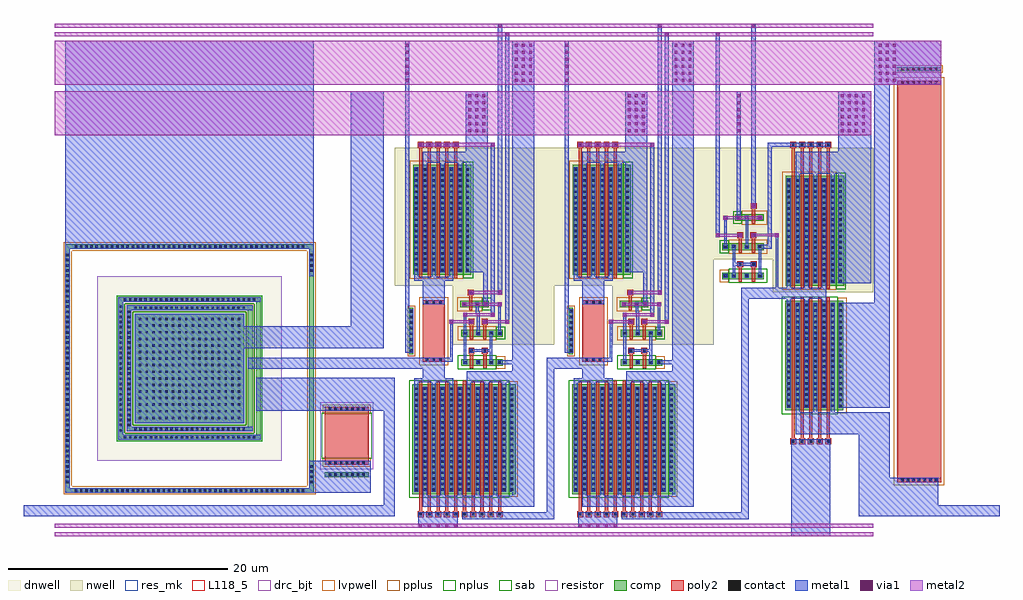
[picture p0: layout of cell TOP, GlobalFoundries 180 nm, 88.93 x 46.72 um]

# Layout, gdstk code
from math import pi, radians
import gdstk
lib = gdstk.Library(unit=1e-6, precision=1e-09)
def R(c, l, rs):  # rectangles x0, y0, x1, y1
    for r in rs: c.add(gdstk.rectangle(r[:2], r[2:], *l))
def A(c, l, x, y, w, h, nx, ny, dx, dy):  # array of equal rectangles
    R(c, l, [(x+i*dx, y+j*dy, x+i*dx+w, y+j*dy+h) for i in range(nx) for j in range(ny)])
def P(c, l, *ps):  # polygons
    for p in ps: c.add(gdstk.Polygon(p, *l))
dnwell = (12, 0)
nwell = (21, 0)
comp = (22, 0)
poly2 = (30, 0)
pplus = (31, 0)
nplus = (32, 0)
contact = (33, 0)
metal1 = (34, 0)
via1 = (35, 0)
metal2 = (36, 0)
sab = (49, 0)
resistor = (62, 0)
res_mk = (110, 5)
L118_5 = (118, 5)
drc_bjt = (127, 5)
lvpwell = (204, 0)

ppolyf_s_resistor = lib.new_cell('ppolyf_s_resistor')
R(ppolyf_s_resistor, comp, [(-1.51,0,-1.15,4)])
R(ppolyf_s_resistor, poly2, [(-0.29,0,36.29,4)])
R(ppolyf_s_resistor, pplus, [(-0.59,-0.3,36.59,4.3), (-1.67,-0.16,-0.99,4.16)])
A(ppolyf_s_resistor, contact, -1.44, 0.36, 0.22, 0.22, 1, 7, 0, 0.51)
A(ppolyf_s_resistor, contact, -0.22, 0.36, 0.22, 0.22, 1, 7, 0, 0.51)
A(ppolyf_s_resistor, contact, 36, 0.36, 0.22, 0.22, 1, 7, 0, 0.51)
R(ppolyf_s_resistor, metal1, [(-1.52,0.28,-1.14,3.72), (-0.3,0.28,0.08,3.72), (35.92,0.28,36.3,3.72)])
R(ppolyf_s_resistor, res_mk, [(0,0,36,4)])

inputbuffer = lib.new_cell('InputBuffer')
R(inputbuffer, nwell, [(-16.13,7.7,-6.96,10.7), (-21.5,10.7,-6.96,20.87)])
R(inputbuffer, comp, [(-14.99,-3.04,-9.69,6.96), (-14.92,8.32,-9.62,18.32), (-20.73,8.91,-16.93,9.51), (-20.73,11.56,-16.93,12.16), (-19.53,14.21,-16.93,14.81)])
A(inputbuffer, poly2, -14.52, -6.14, 0.54, 0.54, 5, 2, 0.8, 27.02)
A(inputbuffer, poly2, -14.39, -5.6, 0.28, 12.87, 5, 2, 0.8, 13.61)
A(inputbuffer, poly2, -18.03, 8.66, 0.3, 1.34, 1, 3, 0, 2.65)
R(inputbuffer, poly2, [(-19.24,8.66,-18.94,10), (-19.35,10,-18.81,10.54), (-18.14,10,-17.6,10.54), (-19.23,11.31,-18.93,12.65), (-19.35,12.65,-18.81,13.19), (-18.15,12.65,-17.61,13.19), (-18.14,15.3,-17.6,15.84)])
R(inputbuffer, pplus, [(-10.18,-3.31,-9.38,7.23), (-15.24,7.94,-10.34,18.69), (-20.93,8.64,-20.13,9.78), (-20.13,11.21,-16.63,12.51), (-18.93,13.86,-16.63,15.16)])
R(inputbuffer, nplus, [(-15.29,-3.39,-10.18,7.31), (-10.34,8.005,-9.46,18.615), (-20.13,8.56,-16.63,9.86), (-20.93,11.29,-20.13,12.43), (-19.73,13.94,-18.93,15.08)])
A(inputbuffer, contact, -14.36, -5.98, 0.22, 0.22, 5, 2, 0.8, 27.02)
A(inputbuffer, contact, -14.76, -2.74, 0.22, 0.22, 6, 19, 0.8, 0.51)
A(inputbuffer, contact, -10.04, -2.74, 0.22, 0.22, 1, 19, 0, 0.51)
A(inputbuffer, contact, -14.76, 8.62, 0.22, 0.22, 6, 19, 0.8, 0.51)
A(inputbuffer, contact, -10.06, 8.62, 0.22, 0.22, 1, 19, 0, 0.51)
A(inputbuffer, contact, -18.59, 9.1, 0.22, 0.22, 1, 3, 0, 2.65)
A(inputbuffer, contact, -17.4, 9.1, 0.22, 0.22, 1, 3, 0, 2.65)
R(inputbuffer, contact, [(-20.54,9.1,-20.32,9.32), (-19.77,9.1,-19.55,9.32), (-19.19,10.16,-18.97,10.38), (-17.98,10.16,-17.76,10.38), (-20.54,11.75,-20.32,11.97), (-19.77,11.75,-19.55,11.97), (-19.19,12.81,-18.97,13.03), (-17.99,12.81,-17.77,13.03), (-19.34,14.4,-19.12,14.62), (-17.98,15.46,-17.76,15.68)])
A(inputbuffer, metal1, -14.44, -6.06, 0.38, 0.38, 5, 2, 0.8, 27.02)
A(inputbuffer, metal1, -14.04, -3.22, 0.38, 0.4, 3, 2, 1.6, 21.32)
A(inputbuffer, metal1, -14.84, -2.82, 0.38, 9.56, 6, 2, 0.8, 11.36)
A(inputbuffer, metal1, -14.84, 6.74, 0.38, 0.4, 3, 2, 1.6, 1.4)
A(inputbuffer, metal1, -20.62, 9.02, 0.38, 0.38, 1, 3, 0, 2.65)
A(inputbuffer, metal1, -18.67, 9.02, 0.38, 0.38, 1, 3, 0, 2.65)
A(inputbuffer, metal1, -17.48, 9.02, 0.38, 0.38, 1, 3, 0, 2.65)
R(inputbuffer, metal1, [(-14.44,-14.53,-10.86,-5.68), (-8.29,-12.7,-5.46,-3.22), (-8.29,-12.7,-1.06,-9.21), (-1.06,-12.7,4.54,-11.7), (-14.44,-6.06,-10.86,-5.68), (-14.04,-5.22,-5.46,-3.22), (-10.12,-2.82,-9.74,6.74), (-10.12,-2.82,-5.46,6.74), (-6.86,-2.82,-5.46,30.63), (-16.63,7.14,-11.26,8.14), (-15.87,7.14,-15.63,13.04), (-14.84,7.14,-11.26,8.14), (-10.14,8.54,-9.76,18.1), (-10.14,8.54,-7.14,26.03), (-19.85,9.02,-19.47,9.4), (-19.78,9.09,-19.54,11.98), (-17.41,9.09,-17.17,11.98), (-19.78,9.4,-19.54,11.67), (-19.27,10.08,-18.89,10.46), (-18.06,10.08,-17.68,10.46), (-19.78,10.15,-17.75,10.39), (-19.85,11.67,-19.47,12.05), (-17.48,11.67,-16.21,12.05), (-16.59,11.67,-16.21,21.34), (-18.6,11.74,-18.36,14.63), (-20.55,12.05,-20.31,14.32), (-21.32,12.73,-20.94,31.41), (-19.27,12.73,-18.89,13.11), (-18.07,12.73,-17.69,13.11), (-15.94,12.73,-15.56,13.11), (-18.6,13.86,-18.36,14.63), (-19.42,14.32,-19.04,14.7), (-19.42,14.32,-19.04,26.03), (-18.06,15.38,-17.68,15.76), (-18.06,15.38,-17.68,32.19), (-14.04,18.5,-8.14,20.5), (-16.59,20.96,-10.86,21.34), (-14.44,20.96,-10.86,21.34), (-6.86,26.63,-0.78,30.63)])
P(inputbuffer, metal1, [(-18.6,11.73),(-18.6,11.73),(-18.6,11.73),(-18.6,11.73)])
A(inputbuffer, via1, -19.36, 22.3, 0.26, 0.26, 1, 6, 0, 0.64)
A(inputbuffer, via1, -9.91, 22.3, 0.26, 0.26, 3, 6, 0.64, 0.64)
A(inputbuffer, via1, -7.98, 22.3, 0.26, 0.26, 1, 6, 0, 0.64)
A(inputbuffer, via1, -6.46, 26.9, 0.26, 0.26, 3, 6, 0.64, 0.64)
R(inputbuffer, via1, [(-21.26,12.79,-21,13.05), (-19.21,12.79,-18.95,13.05), (-18.01,12.79,-17.75,13.05), (-15.88,12.79,-15.62,13.05), (-20.56,14.38,-20.3,14.64), (-19.36,14.38,-19.1,14.64), (-17.42,14.38,-17.16,14.64), (-18,15.44,-17.74,15.7), (-21.26,31.09,-21,31.35), (-18,31.87,-17.74,32.13)])
R(inputbuffer, metal2, [(-21.5,-14.53,-6.96,-14.15), (-21.5,-13.75,-6.96,-13.37), (-21.32,12.73,-20.94,13.11), (-19.27,12.73,-18.89,13.11), (-18.07,12.73,-17.69,13.11), (-15.94,12.73,-15.56,13.11), (-21.27,12.78,-18.92,13.06), (-17.99,12.8,-15.63,13.04), (-20.62,14.32,-20.24,14.7), (-19.42,14.32,-19.04,14.7), (-17.48,14.32,-17.1,14.7), (-20.54,14.37,-17.18,14.65), (-18.06,15.38,-17.68,15.76), (-21.5,22.03,-7.14,26.03), (-21.5,26.63,-0.78,30.63), (-21.5,31.03,-6.96,31.41), (-21.5,31.81,-6.96,32.19)])
r = gdstk.Reference(ppolyf_s_resistor, (-0.78,26.71), rotation=3*pi/2, x_reflection=True); r.repetition = gdstk.Repetition(1, 1, v1=(0,0), v2=(0,0)); inputbuffer.add(r)

gainstage = lib.new_cell('GainStage')
R(gainstage, nwell, [(-0.98,2.93,8.26,8.29), (-6.28,8.29,8.26,20.87)])
R(gainstage, comp, [(-4.65,-10.67,4.75,-0.67), (-0.21,1.03,3.59,1.63), (-4.93,2.05,-4.57,6.32), (-0.21,3.68,3.59,4.28), (-0.29,6.33,2.31,6.93), (-4.58,9.32,0.72,19.32)])
A(gainstage, poly2, -4.18, -12.77, 0.54, 0.54, 10, 1, 0.8, 0)
A(gainstage, poly2, -4.05, -12.23, 0.28, 11.87, 10, 1, 0.8, 0)
A(gainstage, poly2, -4.05, 9.01, 0.28, 11.87, 5, 1, 0.8, 0)
A(gainstage, poly2, -4.18, 20.88, 0.54, 0.54, 5, 1, 0.8, 0)
R(gainstage, poly2, [(0.59,0.78,0.89,2.12), (1.8,0.78,2.1,2.12), (-3.71,1.38,-1.71,6.98), (0.46,2.12,1,2.66), (1.67,2.12,2.21,2.66), (0.59,3.43,0.89,4.77), (1.78,3.43,2.08,4.77), (0.46,4.77,1,5.31), (1.65,4.77,2.19,5.31), (0.51,6.08,0.81,7.42), (0.38,7.42,0.92,7.96)])
R(gainstage, pplus, [(4.16,-10.94,4.96,-0.4), (2.99,0.76,3.79,1.9), (-4.01,1.08,-1.41,7.28), (-5.09,1.89,-4.41,6.48), (-0.51,3.33,2.99,4.63), (-0.59,5.98,1.71,7.28), (-4.9,8.94,0,19.69)])
R(gainstage, nplus, [(-4.95,-11.02,4.16,-0.32), (-0.51,0.68,2.99,1.98), (2.99,3.41,3.79,4.55), (1.71,6.06,2.51,7.2), (0,9.005,0.88,19.615)])
A(gainstage, contact, -4.02, -12.61, 0.22, 0.22, 10, 1, 0.8, 0)
A(gainstage, contact, -4.42, -10.37, 0.22, 0.22, 11, 19, 0.8, 0.51)
A(gainstage, contact, 4.3, -10.37, 0.22, 0.22, 1, 19, 0, 0.51)
A(gainstage, contact, -4.86, 2.29, 0.22, 0.22, 1, 8, 0, 0.51)
A(gainstage, contact, -4.42, 9.62, 0.22, 0.22, 6, 19, 0.8, 0.51)
A(gainstage, contact, 0.28, 9.62, 0.22, 0.22, 1, 19, 0, 0.51)
A(gainstage, contact, -4.02, 21.04, 0.22, 0.22, 5, 1, 0.8, 0)
R(gainstage, contact, [(0.04,1.22,0.26,1.44), (1.23,1.22,1.45,1.44), (2.41,1.22,2.63,1.44), (3.18,1.22,3.4,1.44), (-3.42,1.46,-3.2,1.68), (-2.82,1.46,-2.6,1.68), (-2.82,1.46,-2.6,1.68), (-2.22,1.46,-2,1.68), (0.62,2.28,0.84,2.5), (1.83,2.28,2.05,2.5), (0.04,3.87,0.26,4.09), (1.23,3.87,1.45,4.09), (2.41,3.87,2.63,4.09), (3.18,3.87,3.4,4.09), (0.62,4.93,0.84,5.15), (1.81,4.93,2.03,5.15), (-0.04,6.52,0.18,6.74), (1.15,6.52,1.37,6.74), (1.9,6.52,2.12,6.74), (-3.42,6.68,-3.2,6.9), (-2.82,6.68,-2.6,6.9), (-2.82,6.68,-2.6,6.9), (-2.22,6.68,-2,6.9), (0.54,7.58,0.76,7.8)])
A(gainstage, metal1, -4.1, -12.69, 0.38, 0.38, 10, 1, 0.8, 0)
A(gainstage, metal1, -3.7, -10.85, 0.38, 0.4, 5, 1, 1.6, 0)
A(gainstage, metal1, -4.5, -10.45, 0.38, 9.56, 11, 1, 0.8, 0)
A(gainstage, metal1, -4.5, -0.89, 0.38, 0.4, 6, 1, 1.6, 0)
A(gainstage, metal1, 3.1, 1.14, 0.38, 0.38, 1, 3, 0, 2.65)
A(gainstage, metal1, -4.5, 9.14, 0.38, 0.4, 3, 1, 1.6, 0)
A(gainstage, metal1, -4.5, 9.54, 0.38, 9.56, 6, 1, 0.8, 0)
A(gainstage, metal1, -3.7, 19.1, 0.38, 0.4, 3, 1, 1.6, 0)
A(gainstage, metal1, -4.1, 20.96, 0.38, 0.38, 5, 1, 0.8, 0)
R(gainstage, metal1, [(-4.1,-13.75,-0.52,-12.31), (-0.1,-12.99,8.26,-12.31), (-4.1,-12.69,-0.52,-12.31), (-0.1,-12.69,3.48,-12.31), (-3.7,-11.85,6.46,-10.85), (4.46,-11.47,6.46,30.63), (4.22,-10.45,4.6,-0.89), (4.22,-0.89,4.6,-0.49), (-4.5,-0.49,-0.92,-0.11), (-3.71,-0.49,-1.71,1.76), (0.3,-0.49,6.46,0.51), (-6.28,0.76,-1.71,1.76), (-0.04,1.14,0.34,1.52), (1.15,1.14,1.53,1.52), (2.33,1.14,2.71,1.52), (3.1,1.14,6.46,1.52), (0.03,1.21,0.27,5.76), (2.4,1.21,2.64,4.1), (-3.71,1.38,-0.98,1.76), (-1.22,1.38,-0.98,5.16), (2.4,1.52,2.64,3.79), (0.54,2.2,0.92,2.58), (1.75,2.2,2.13,2.58), (-5.32,2.21,-4.94,30.63), (-4.94,2.21,-4.56,6.16), (0.61,2.27,2.64,2.51), (-0.04,3.79,0.34,4.17), (1.15,3.79,1.53,4.17), (2.33,3.79,2.71,4.17), (1.22,3.85,1.46,5.93), (3.17,4.17,3.41,6.44), (-1.29,4.84,-0.91,5.22), (0.54,4.85,0.92,5.23), (1.73,4.85,2.11,5.23), (3.8,4.85,4.18,31.41), (-0.04,5.48,0.34,5.86), (2.48,5.48,2.86,21.34), (1.14,5.69,1.38,6.75), (1.14,5.98,1.38,6.75), (-0.12,6.44,0.26,6.82), (1.07,6.44,1.45,6.82), (1.82,6.44,2.2,9.68), (1.82,6.44,2.2,6.82), (-3.71,6.6,-1.71,9.14), (0.46,7.5,0.84,7.88), (3.14,7.5,3.52,32.19), (-4.5,8.76,-0.92,9.14), (0.2,9.54,2.2,26.03), (0.2,9.54,0.58,19.1), (-3.7,19.5,2.2,20.5), (-4.1,20.96,-0.52,21.34)])
P(gainstage, metal1, [(1.46,3.85),(1.46,3.85),(1.46,3.85),(1.46,3.85)])
A(gainstage, via1, -4.04, -13.69, 0.26, 0.26, 5, 2, 0.8, 34.71)
A(gainstage, via1, 0.43, 22.3, 0.26, 0.26, 3, 6, 0.64, 0.64)
A(gainstage, via1, -5.26, 26.9, 0.26, 0.26, 1, 6, 0, 0.64)
A(gainstage, via1, 4.69, 26.9, 0.26, 0.26, 3, 6, 0.64, 0.64)
R(gainstage, via1, [(-1.23,4.91,-0.97,5.17), (0.6,4.91,0.86,5.17), (1.79,4.91,2.05,5.17), (3.86,4.91,4.12,5.17), (0.02,5.54,0.28,5.8), (2.54,5.54,2.8,5.8), (-0.06,6.5,0.2,6.76), (1.88,6.5,2.14,6.76), (3.16,6.5,3.42,6.76), (0.52,7.56,0.78,7.82), (3.2,7.56,3.46,7.82), (2.54,21.02,2.8,21.28), (3.86,31.09,4.12,31.35), (3.2,31.87,3.46,32.13)])
R(gainstage, metal2, [(-6.28,-14.53,8.26,-14.15), (-6.28,-13.75,8.26,-13.37), (-1.29,4.84,-0.91,5.22), (0.54,4.85,0.92,5.23), (1.73,4.85,2.11,5.23), (3.8,4.85,4.18,5.23), (-1.21,4.9,0.84,5.18), (1.78,4.9,4.13,5.18), (-0.04,5.48,0.34,5.86), (2.48,5.48,2.86,5.86), (0.01,5.53,2.86,5.81), (-0.12,6.44,0.26,6.82), (1.82,6.44,2.2,6.82), (3.1,6.44,3.48,6.82), (0.04,6.49,3.4,6.77), (0.46,7.5,0.84,7.88), (3.14,7.5,3.52,7.88), (0.59,7.55,3.47,7.83), (-4.1,20.96,2.86,21.34), (-6.28,22.03,8.26,26.03), (-6.28,26.63,8.26,30.63), (-6.28,31.03,8.26,31.41), (-6.28,31.81,8.26,32.19)])
R(gainstage, res_mk, [(-3.71,1.68,-1.71,6.68), (-3.71,1.68,-1.71,6.68)])

npn_10p00x10p00_0 = lib.new_cell('npn_10p00x10p00_0')
R(npn_10p00x10p00_0, dnwell, [(-3.4,-3.4,13.4,13.4)])
R(npn_10p00x10p00_0, comp, [(0,0,10,10)])
P(npn_10p00x10p00_0, comp, [(-6.32,-6.32),(-6.32,16.32),(15.9,16.32),(15.9,15.9),(-5.9,15.9),(-5.9,-5.9),(15.9,-5.9),(15.9,16.32),(16.32,16.32),(16.32,-6.32)],
  [(-0.74,-0.74),(-0.74,10.74),(10.32,10.74),(10.32,10.32),(-0.32,10.32),(-0.32,-0.32),(10.32,-0.32),(10.32,10.74),(10.74,10.74),(10.74,-0.74)],
  [(-1.48,-1.48),(-1.48,11.48),(11.06,11.48),(11.06,11.06),(-1.06,11.06),(-1.06,-1.06),(11.06,-1.06),(11.06,11.48),(11.48,11.48),(11.48,-1.48)])
P(npn_10p00x10p00_0, pplus, [(-6.48,-6.48),(-6.48,16.48),(15.74,16.48),(15.74,15.74),(-5.74,15.74),(-5.74,-5.74),(15.74,-5.74),(15.74,16.48),(16.48,16.48),(16.48,-6.48)],
  [(-0.9,-0.9),(-0.9,10.9),(10.16,10.9),(10.16,10.16),(-0.16,10.16),(-0.16,-0.16),(10.16,-0.16),(10.16,10.9),(10.9,10.9),(10.9,-0.9)])
R(npn_10p00x10p00_0, nplus, [(-0.16,-0.16,10.16,10.16)])
P(npn_10p00x10p00_0, nplus, [(-1.64,-1.64),(-1.64,11.64),(10.9,11.64),(10.9,10.9),(-0.9,10.9),(-0.9,-0.9),(10.9,-0.9),(10.9,11.64),(11.64,11.64),(11.64,-1.64)])
A(npn_10p00x10p00_0, contact, -5.45, -6.22, 0.22, 0.22, 4, 1, 0.47, 0)
A(npn_10p00x10p00_0, contact, 13.82, -6.22, 0.22, 0.22, 4, 1, 0.47, 0)
A(npn_10p00x10p00_0, contact, -6.22, -5.45, 0.22, 0.22, 1, 45, 0, 0.47)
A(npn_10p00x10p00_0, contact, 16, -5.45, 0.22, 0.22, 1, 45, 0, 0.47)
A(npn_10p00x10p00_0, contact, -1.38, -0.985, 0.22, 0.22, 1, 26, 0, 0.47)
A(npn_10p00x10p00_0, contact, 11.16, -0.985, 0.22, 0.22, 1, 26, 0, 0.47)
A(npn_10p00x10p00_0, contact, -0.64, -0.045, 0.22, 0.22, 1, 22, 0, 0.47)
A(npn_10p00x10p00_0, contact, 10.42, -0.045, 0.22, 0.22, 1, 22, 0, 0.47)
A(npn_10p00x10p00_0, contact, 0.39, 0.39, 0.22, 0.22, 16, 16, 0.6, 0.6)
A(npn_10p00x10p00_0, contact, -0.28, 10.42, 0.22, 0.22, 23, 1, 0.47, 0)
A(npn_10p00x10p00_0, contact, -0.75, 11.16, 0.22, 0.22, 25, 1, 0.47, 0)
A(npn_10p00x10p00_0, contact, -5.45, 16, 0.22, 0.22, 45, 1, 0.47, 0)
R(npn_10p00x10p00_0, metal1, [(-6.32,-6.32,-5.9,16.32), (-6.32,-6.32,-3.4,-5.9), (13.4,-6.32,16.32,-5.9), (15.9,-6.32,16.32,16.32), (-1.48,-1.48,-1.06,11.48), (11.06,-1.48,11.48,11.48), (-0.74,-0.74,-0.32,10.74), (10.32,-0.74,10.74,10.74), (0,0,10,10), (0,0,10,10), (-0.74,10.32,10.74,10.74), (-1.48,11.06,11.48,11.48), (-6.32,15.9,16.32,16.32)])
P(npn_10p00x10p00_0, metal1, [(-6.32,-6.32),(-6.32,16.32),(15.9,16.32),(15.9,15.9),(-5.9,15.9),(-5.9,-5.9),(-3.4,-5.9),(-3.4,-6.32)],
  [(13.4,-6.32),(13.4,-5.9),(15.9,-5.9),(15.9,16.32),(16.32,16.32),(16.32,-6.32)],
  [(-0.74,-0.74),(-0.74,10.74),(10.74,10.74),(10.74,-0.74),(10.32,-0.74),(10.32,10.32),(-0.32,10.32),(-0.32,-0.74)],
  [(-1.48,-1.48),(-1.48,11.48),(11.48,11.48),(11.48,-1.48),(11.06,-1.48),(11.06,11.06),(-1.06,11.06),(-1.06,-1.48)])
R(npn_10p00x10p00_0, L118_5, [(0,0,10,10)])
R(npn_10p00x10p00_0, drc_bjt, [(-3.4,-3.4,13.4,13.4)])
R(npn_10p00x10p00_0, lvpwell, [(-0.9,-0.9,10.9,10.9)])
npn_10p00x10p00_0.add(gdstk.Label('E', (5.005,4.995), layer=34, texttype=0))
npn_10p00x10p00_0.add(gdstk.Label('B', (-0.515,-0.485), layer=34, texttype=0))
npn_10p00x10p00_0.add(gdstk.Label('B', (10.525,-0.495), layer=34, texttype=0))
npn_10p00x10p00_0.add(gdstk.Label('B', (10.55,10.54), layer=34, texttype=0))
npn_10p00x10p00_0.add(gdstk.Label('C', (-1.255,11.26), layer=34, texttype=0))
npn_10p00x10p00_0.add(gdstk.Label('C', (11.27,-1.235), layer=34, texttype=0))
npn_10p00x10p00_0.add(gdstk.Label('C', (11.285,11.285), layer=34, texttype=0))
npn_10p00x10p00_0.add(gdstk.Label('S', (16.105,16.105), layer=34, texttype=0))
npn_10p00x10p00_0.add(gdstk.Label('S', (16.07,-6.095), layer=34, texttype=0))
npn_10p00x10p00_0.add(gdstk.Label('S', (16.07,-6.095), layer=34, texttype=0))
npn_10p00x10p00_0.add(gdstk.Label('S', (-6.095,-6.055), layer=34, texttype=0))
npn_10p00x10p00_0.add(gdstk.Label('S', (-6.095,-6.055), layer=34, texttype=0))

npn_10p00x10p00 = lib.new_cell('npn_10p00x10p00')
npn_10p00x10p00.add(gdstk.Reference(npn_10p00x10p00_0, (6.6,6.6)))
npn_10p00x10p00.add(gdstk.Label('I1_default_E', (6.625,6.625), layer=34, texttype=10))
npn_10p00x10p00.add(gdstk.Label('I1_default_S', (0.305,22.525), layer=34, texttype=10))
npn_10p00x10p00.add(gdstk.Label('I1_default_S', (22.525,0.305), layer=34, texttype=10))
npn_10p00x10p00.add(gdstk.Label('I1_default_S', (20.025,0.305), layer=34, texttype=10))
npn_10p00x10p00.add(gdstk.Label('I1_default_S', (0.305,0.305), layer=34, texttype=10))
npn_10p00x10p00.add(gdstk.Label('I1_default_S', (0.305,0.305), layer=34, texttype=10))
npn_10p00x10p00.add(gdstk.Label('I1_default_C', (5.145,5.145), layer=34, texttype=10))
npn_10p00x10p00.add(gdstk.Label('I1_default_C', (17.685,5.145), layer=34, texttype=10))
npn_10p00x10p00.add(gdstk.Label('I1_default_C', (5.145,17.685), layer=34, texttype=10))
npn_10p00x10p00.add(gdstk.Label('I1_default_B', (5.885,5.885), layer=34, texttype=10))
npn_10p00x10p00.add(gdstk.Label('I1_default_B', (16.945,5.885), layer=34, texttype=10))
npn_10p00x10p00.add(gdstk.Label('I1_default_B', (5.885,16.945), layer=34, texttype=10))

npn_bjt = lib.new_cell('npn_bjt')
npn_bjt.add(gdstk.Reference(npn_10p00x10p00, (0,0)))

ppolyf_u_high_rs_resisto = lib.new_cell('ppolyf_u_high_Rs_resistor')
R(ppolyf_u_high_rs_resisto, comp, [(-1.76,0,-1.34,4)])
R(ppolyf_u_high_rs_resisto, poly2, [(-0.64,0,4.64,4)])
R(ppolyf_u_high_rs_resisto, pplus, [(-0.82,-0.18,0,4.18), (4,-0.18,4.82,4.18), (-1.78,-0.02,-1.32,4.02)])
A(ppolyf_u_high_rs_resisto, contact, -1.66, 0.36, 0.22, 0.22, 1, 7, 0, 0.51)
A(ppolyf_u_high_rs_resisto, contact, -0.57, 0.36, 0.22, 0.22, 1, 7, 0, 0.51)
A(ppolyf_u_high_rs_resisto, contact, 4.35, 0.36, 0.22, 0.22, 1, 7, 0, 0.51)
R(ppolyf_u_high_rs_resisto, metal1, [(-1.74,0.28,-1.36,3.72), (-0.65,0.28,-0.27,3.72), (4.27,0.28,4.65,3.72)])
R(ppolyf_u_high_rs_resisto, sab, [(-0.1,-0.28,4.1,4.28)])
R(ppolyf_u_high_rs_resisto, resistor, [(-1.04,-0.4,5.04,4.4)])
R(ppolyf_u_high_rs_resisto, res_mk, [(0,0,4,4)])

outputbuffer = lib.new_cell('OutputBuffer')
R(outputbuffer, metal1, [(-17.87,-1.95,15.94,-0.95), (14.94,-1.95,15.94,10.66), (8.16,0.2,13.77,3.12), (3.32,7.66,14.94,10.66), (2.58,11.51,15.94,12.51), (0.87,13.37,14.94,15.37), (11.94,13.37,14.94,36.78), (-14.06,22.84,8.58,41.38)])
R(outputbuffer, metal2, [(-15,-3.78,15.94,-3.4), (-15,-3,15.94,-2.62), (-15,32.78,15.94,36.78), (-15,37.38,15.94,41.38), (-15,41.78,15.94,42.16), (-15,42.56,15.94,42.94)])
r = gdstk.Reference(npn_bjt, (8.86,23.12), rotation=3*pi/2, x_reflection=True); r.repetition = gdstk.Repetition(1, 1, v1=(0,0), v2=(0,0)); outputbuffer.add(r)
r = gdstk.Reference(ppolyf_u_high_rs_resisto, (13.59,3.39), rotation=pi/2); r.repetition = gdstk.Repetition(1, 1, v1=(0,0), v2=(0,0)); outputbuffer.add(r)

top = lib.new_cell('TOP')
R(top, metal1, [(8.54,-13.05,9.22,1.7), (23.76,-13.05,26.95,-12.37), (26.27,-13.05,26.95,8.08), (26.27,7.08,28.63,8.08)])
r = gdstk.Reference(inputbuffer, (45.26,-0.06)); r.repetition = gdstk.Repetition(1, 1, v1=(0,0), v2=(0,0)); top.add(r)
r = gdstk.Reference(gainstage, (0.96,-0.06)); r.repetition = gdstk.Repetition(1, 1, v1=(0,0), v2=(0,0)); top.add(r)
r = gdstk.Reference(gainstage, (15.5,-0.06)); r.repetition = gdstk.Repetition(1, 1, v1=(0,0), v2=(0,0)); top.add(r)
r = gdstk.Reference(outputbuffer, (-21.26,-10.81)); r.repetition = gdstk.Repetition(1, 1, v1=(0,0), v2=(0,0)); top.add(r)

lib.write_gds('TOP.gds')
